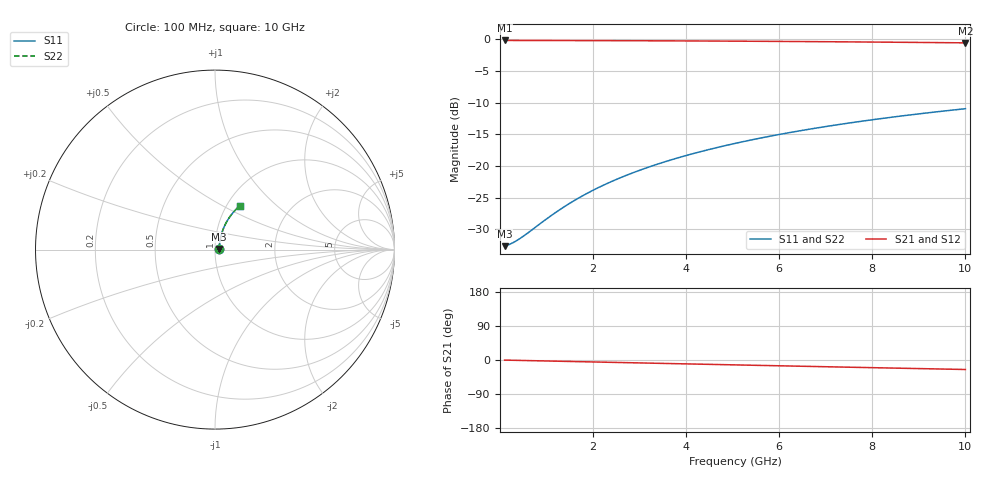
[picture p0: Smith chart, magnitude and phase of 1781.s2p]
# Hz S RI R 50.00
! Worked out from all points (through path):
!   100 points, 100 MHz to 10 GHz, reference 50 ohm
!   highest |S21| = -0.20 dB at 100 MHz (marker M1); lowest = -0.6 dB at 10 GHz (marker M2)
!   group delay of S21, straight-line fit = 6.97 ps
!   lowest |S11| = -32.6 dB at 100 MHz (marker M3), VSWR 1.05, Z = 52.4 + j0.303 ohm
!   |S11| at or under -10 dB: start of sweep to end of sweep
!   |S22| runs from -32.6 to -11.0 dB; largest |S21 - S12| = 0
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1e8  0.0232 0.00289  0.9768 -0.00439  0.9768 -0.00439  0.0232 0.00289
2e8  0.0234 0.00578  0.9766 -0.00878  0.9766 -0.00878  0.0234 0.00578
3e8  0.0235 0.00867  0.9764 -0.0132  0.9764 -0.0132  0.0235 0.00867
4e8  0.0237 0.0116  0.9763 -0.0175  0.9763 -0.0175  0.0237 0.0116
6e8  0.0241 0.0173  0.9758 -0.0263  0.9758 -0.0263  0.0241 0.0173
1e9  0.0252 0.0288  0.9747 -0.0438  0.9747 -0.0438  0.0252 0.0288
1.2e9  0.0258 0.0346  0.974 -0.0525  0.974 -0.0525  0.0258 0.0346
1.5e9  0.027 0.0431  0.9727 -0.0656  0.9727 -0.0656  0.027 0.0431
1.8e9  0.0284 0.0517  0.9713 -0.0786  0.9713 -0.0786  0.0284 0.0517
2.1e9  0.0299 0.0602  0.9695 -0.0916  0.9695 -0.0916  0.0299 0.0602
2.5e9  0.0324 0.0714  0.9668 -0.1088  0.9668 -0.1088  0.0324 0.0714
2.9e9  0.0353 0.0825  0.9637 -0.1259  0.9637 -0.1259  0.0353 0.0825
3.4e9  0.0394 0.0962  0.9593 -0.1471  0.9593 -0.1471  0.0394 0.0962
3.8e9  0.0431 0.107  0.9553 -0.1639  0.9553 -0.1639  0.0431 0.107
4.2e9  0.0471 0.1176  0.9508 -0.1806  0.9508 -0.1806  0.0471 0.1176
4.6e9  0.0516 0.1281  0.946 -0.197  0.946 -0.197  0.0516 0.1281
5.1e9  0.0576 0.1409  0.9394 -0.2173  0.9394 -0.2173  0.0576 0.1409
5.9e9  0.0683 0.1606  0.9276 -0.2491  0.9276 -0.2491  0.0683 0.1606
6.7e9  0.0803 0.1794  0.9145 -0.28  0.9145 -0.28  0.0803 0.1794
7.5e9  0.0935 0.1972  0.9 -0.3099  0.9 -0.3099  0.0935 0.1972
8.4e9  0.1095 0.2159  0.8823 -0.3422  0.8823 -0.3422  0.1095 0.2159
1e10  0.1409 0.2454  0.8475 -0.396  0.8475 -0.396  0.1409 0.2454
